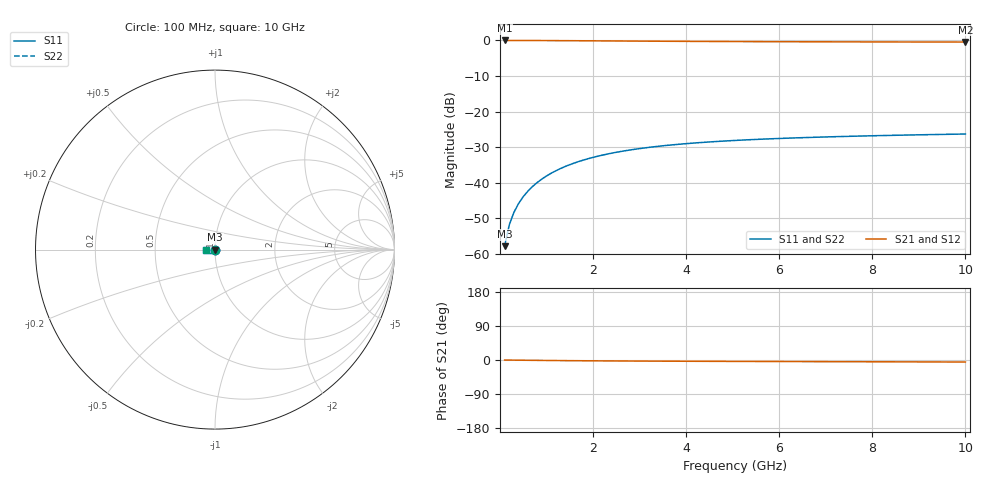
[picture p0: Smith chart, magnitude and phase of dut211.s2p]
! Touchstone file exported from HFSS 2024.1.0
!  File:  C:/UserFiles/LocalFiles/RDL_TSV_Batchsim/temp_TSV1_211_1779386746.aedt
!  Generated:  02:10:44 AM May 22, 2026
!  Design:  TSV1
!  Project:  temp_TSV1_211_1779386746
!  Setup:  Setup1
!  Solution:  Sweep
! Variables:
!  dtsv = 10.02um
!  hbump = 3um
!  htsv = 83.8um
!  lrdl = 252.1521522um
!  p = 40
!  p1 = 47.9um
!  t = 500um
!  trdl = 3um
!  wrdl = 24.89489489um
# GHz S MA R 50.000000
! Terminal data exported
! Port[1] = TSV22_T1
! Port[2] = TSV22_T2
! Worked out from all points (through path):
!   100 points, 100 MHz to 10 GHz, reference 50 ohm
!   highest |S21| = 0.00 dB at 100 MHz (marker M1); lowest = -0.4 dB at 10 GHz (marker M2)
!   lowest |S11| = -57.8 dB at 100 MHz (marker M3), VSWR 1.00, Z = 50 - j0.128 ohm
!   |S11| at or under -10 dB: start of sweep to end of sweep
!   |S22| runs from -57.8 to -26.3 dB; largest |S21 - S12| = 3e-15
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0.1  0.001288 -85.1  0.9998 -0.1  0.9998 -0.1  0.001288 -85.1
! Gamma 0 0 0 0
! Port Impedance 50 0 50 0
0.2  0.002564 -89.9  0.9997 -0.3  0.9997 -0.3  0.002564 -89.9
0.3  0.003842 -92.7  0.9995 -0.4  0.9995 -0.4  0.003842 -92.7
0.4  0.005116 -95.0  0.9992 -0.5  0.9992 -0.5  0.005116 -95.0
0.5  0.006382 -97.0  0.9988 -0.6  0.9988 -0.6  0.006382 -97.0
0.6  0.007636 -98.9  0.9984 -0.8  0.9984 -0.8  0.007636 -98.9
0.7  0.008874 -100.8  0.9979 -0.9  0.9979 -0.9  0.008874 -100.8
0.8  0.01009 -102.6  0.9974 -1.0  0.9974 -1.0  0.01009 -102.6
0.9  0.01129 -104.4  0.9968 -1.1  0.9968 -1.1  0.01129 -104.4
1.1  0.01362 -107.8  0.9954 -1.3  0.9954 -1.3  0.01362 -107.8
1.4  0.01693 -112.7  0.9931 -1.6  0.9931 -1.6  0.01693 -112.7
1.6  0.01899 -115.8  0.9913 -1.8  0.9913 -1.8  0.01899 -115.8
1.8  0.02093 -118.8  0.9895 -2.0  0.9895 -2.0  0.02093 -118.8
2.1  0.02363 -123.0  0.9868 -2.2  0.9868 -2.2  0.02363 -123.0
2.5  0.02683 -128.2  0.9831 -2.5  0.9831 -2.5  0.02683 -128.2
2.9  0.02962 -133.0  0.9795 -2.8  0.9795 -2.8  0.02961 -133.0
3.4  0.03257 -138.4  0.9754 -3.0  0.9754 -3.0  0.03257 -138.4
4.2  0.03634 -145.9  0.9696 -3.4  0.9696 -3.4  0.03634 -145.9
5.1  0.03953 -153.0  0.9644 -3.7  0.9644 -3.7  0.03953 -153.0
6.7  0.0435 -163.1  0.9576 -4.3  0.9576 -4.3  0.0435 -163.1
8.4  0.04639 -171.6  0.9529 -4.8  0.9529 -4.8  0.04639 -171.6
10  0.04847 -178.3  0.9498 -5.3  0.9498 -5.3  0.04847 -178.3
